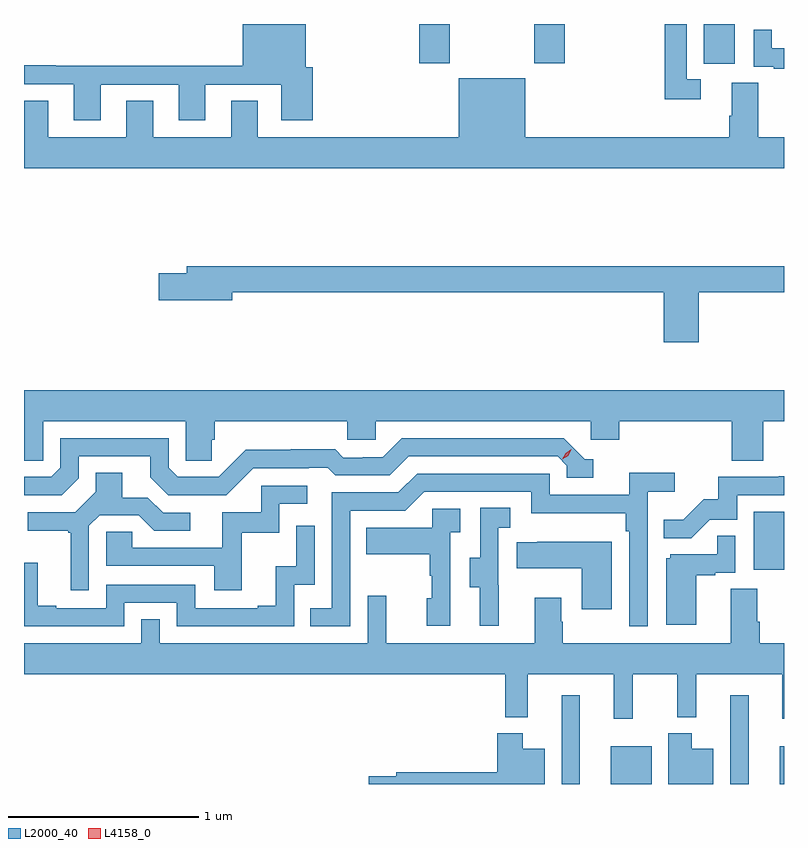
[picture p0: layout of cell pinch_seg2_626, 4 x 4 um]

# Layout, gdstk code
import gdstk
lib = gdstk.Library(unit=1e-6, precision=1e-09)
def R(c, l, rs):  # rectangles x0, y0, x1, y1
    for r in rs: c.add(gdstk.rectangle(r[:2], r[2:], *l))
def P(c, l, *ps):  # polygons
    for p in ps: c.add(gdstk.Polygon(p, *l))
L2000_40 = (2000, 40)
L4158_0 = (4158, 0)

pinch_seg2_626 = lib.new_cell('pinch_seg2_626')
R(pinch_seg2_626, L2000_40, [(1024.155,600.439,1024.252,600.907), (1024.415,600.439,1024.63,600.637), (1025.043,600.439,1025.14,600.907), (1025.303,600.439,1025.326,600.637), (1025.168,601.566,1025.326,601.873), (1024.904,604.23,1025.068,604.439), (1023.407,604.233,1023.567,604.439), (1024.012,604.233,1024.172,604.439)])
P(pinch_seg2_626, L2000_40, [(1021.729,604.119),(1022.141,604.119),(1022.141,603.933),(1022.281,603.933),(1022.281,604.119),(1022.681,604.119),(1022.681,603.933),(1022.846,603.933),(1022.846,604.212),(1022.809,604.212),(1022.809,604.439),(1022.477,604.439),(1022.477,604.22),(1021.493,604.22),(1021.493,604.223),(1021.326,604.223),(1021.326,604.122),(1021.589,604.122),(1021.589,603.933),(1021.729,603.933)],
  [(1024.888,604.149),(1024.815,604.149),(1024.815,604.439),(1024.699,604.439),(1024.699,604.044),(1024.888,604.044)],
  [(1025.326,604.311),(1025.261,604.311),(1025.261,604.409),(1025.166,604.409),(1025.166,604.215),(1025.273,604.215),(1025.273,604.203),(1025.326,604.203)],
  [(1025.326,603.844),(1025.191,603.844),(1025.191,604.13),(1025.051,604.13),(1025.051,603.956),(1025.039,603.956),(1025.039,603.844),(1023.964,603.844),(1023.964,604.153),(1023.614,604.153),(1023.614,603.844),(1022.557,603.844),(1022.557,604.034),(1022.417,604.034),(1022.417,603.844),(1022.005,603.844),(1022.005,604.034),(1021.865,604.034),(1021.865,603.844),(1021.453,603.844),(1021.453,604.034),(1021.326,604.034),(1021.326,603.68),(1025.326,603.68)],
  [(1024.877,603.028),(1025.326,603.028),(1025.326,603.164),(1022.183,603.164),(1022.183,603.128),(1022.034,603.128),(1022.034,602.986),(1022.422,602.986),(1022.422,603.028),(1024.694,603.028),(1024.694,602.763),(1024.877,602.763)],
  [(1021.428,602.348),(1022.178,602.348),(1022.178,602.14),(1022.315,602.14),(1022.315,602.25),(1022.33,602.25),(1022.33,602.348),(1023.027,602.348),(1023.027,602.25),(1023.177,602.25),(1023.177,602.348),(1024.308,602.348),(1024.308,602.25),(1024.46,602.25),(1024.46,602.348),(1025.051,602.348),(1025.051,602.14),(1025.216,602.14),(1025.216,602.348),(1025.326,602.348),(1025.326,602.512),(1021.326,602.512),(1021.326,602.14),(1021.428,602.14)],
  [(1021.614,602.049),(1021.614,602.163),(1021.991,602.163),(1021.991,602.053),(1022.085,601.959),(1022.391,601.959),(1022.532,602.1),(1022.825,602.1),(1022.825,602.103),(1022.924,602.103),(1022.963,602.064),(1023.252,602.064),(1023.351,602.163),(1024.134,602.163),(1024.182,602.115),(1024.182,602.052),(1024.321,602.052),(1024.321,602.148),(1024.278,602.148),(1024.167,602.259),(1023.314,602.259),(1023.215,602.16),(1023.108,602.16),(1023.108,602.157),(1023.005,602.157),(1022.963,602.2),(1022.73,602.2),(1022.73,602.197),(1022.494,602.197),(1022.352,602.055),(1022.136,602.055),(1022.088,602.103),(1022.088,602.259),(1021.518,602.259),(1021.518,602.103),(1021.47,602.055),(1021.326,602.055),(1021.326,601.959),(1021.524,601.959)],
  [(1023.042,601.878),(1023.333,601.878),(1023.432,601.977),(1023.996,601.977),(1023.996,601.865),(1024.492,601.865),(1024.492,601.769),(1024.512,601.769),(1024.512,601.269),(1024.608,601.269),(1024.608,601.976),(1024.75,601.976),(1024.75,602.078),(1024.511,602.078),(1024.511,601.962),(1024.092,601.962),(1024.092,602.073),(1023.395,602.073),(1023.296,601.974),(1022.946,601.974),(1022.946,601.365),(1022.833,601.365),(1022.833,601.269),(1023.042,601.269)],
  [(1021.668,601.797),(1021.725,601.854),(1021.931,601.854),(1022.012,601.773),(1022.2,601.773),(1022.2,601.866),(1022.058,601.866),(1021.978,601.946),(1021.843,601.946),(1021.843,602.078),(1021.703,602.078),(1021.703,601.976),(1021.596,601.869),(1021.347,601.869),(1021.347,601.772),(1021.56,601.772),(1021.56,601.761),(1021.571,601.761),(1021.571,601.458),(1021.668,601.458)],
  [(1024.935,601.83),(1025.079,601.83),(1025.079,601.959),(1025.326,601.959),(1025.326,602.06),(1025.299,602.06),(1025.299,602.055),(1024.981,602.055),(1024.981,601.938),(1024.904,601.938),(1024.797,601.831),(1024.693,601.831),(1024.693,601.732),(1024.837,601.732)],
  [(1022.471,601.761),(1022.67,601.761),(1022.67,601.914),(1022.818,601.914),(1022.818,602.01),(1022.574,602.01),(1022.574,601.869),(1022.369,601.869),(1022.369,601.683),(1021.895,601.683),(1021.895,601.767),(1021.758,601.767),(1021.758,601.587),(1022.327,601.587),(1022.327,601.458),(1022.471,601.458)],
  [(1023.824,601.485),(1023.822,601.485),(1023.822,601.789),(1023.886,601.789),(1023.886,601.892),(1023.726,601.892),(1023.726,601.629),(1023.671,601.629),(1023.671,601.474),(1023.725,601.474),(1023.725,601.272),(1023.824,601.272)],
  [(1023.57,601.763),(1023.622,601.763),(1023.622,601.887),(1023.474,601.887),(1023.474,601.789),(1023.127,601.789),(1023.127,601.649),(1023.462,601.649),(1023.462,601.535),(1023.472,601.535),(1023.472,601.416),(1023.446,601.416),(1023.446,601.272),(1023.57,601.272)],
  [(1021.854,601.392),(1022.13,601.392),(1022.13,601.269),(1022.748,601.269),(1022.748,601.488),(1022.856,601.488),(1022.856,601.798),(1022.76,601.798),(1022.76,601.586),(1022.651,601.586),(1022.651,601.378),(1022.555,601.378),(1022.555,601.365),(1022.226,601.365),(1022.226,601.488),(1021.758,601.488),(1021.758,601.365),(1021.495,601.365),(1021.495,601.378),(1021.399,601.378),(1021.399,601.603),(1021.326,601.603),(1021.326,601.269),(1021.854,601.269)],
  [(1024.864,601.539),(1024.964,601.539),(1024.964,601.551),(1025.07,601.551),(1025.07,601.745),(1024.975,601.745),(1024.975,601.647),(1024.728,601.647),(1024.728,601.626),(1024.706,601.626),(1024.706,601.278),(1024.864,601.278)],
  [(1024.42,601.714),(1024.027,601.714),(1024.027,601.711),(1023.919,601.711),(1023.919,601.574),(1024.262,601.574),(1024.262,601.359),(1024.42,601.359)],
  [(1024.53,601.016),(1024.765,601.016),(1024.765,600.791),(1024.865,600.791),(1024.865,601.016),(1025.318,601.016),(1025.318,600.783),(1025.326,600.783),(1025.326,601.18),(1025.198,601.18),(1025.198,601.292),(1025.185,601.292),(1025.185,601.466),(1025.045,601.466),(1025.045,601.18),(1024.161,601.18),(1024.161,601.292),(1024.153,601.292),(1024.153,601.42),(1024.013,601.42),(1024.013,601.18),(1023.233,601.18),(1023.233,601.429),(1023.135,601.429),(1023.135,601.18),(1022.04,601.18),(1022.04,601.307),(1021.944,601.307),(1021.944,601.18),(1021.326,601.18),(1021.326,601.016),(1023.859,601.016),(1023.859,600.791),(1023.977,600.791),(1023.977,601.016),(1024.43,601.016),(1024.43,600.783),(1024.53,600.783)],
  [(1024.954,600.625),(1024.84,600.625),(1024.84,600.706),(1024.718,600.706),(1024.718,600.439),(1024.954,600.439)],
  [(1024.066,600.625),(1023.952,600.625),(1023.952,600.706),(1023.818,600.706),(1023.818,600.5),(1023.286,600.5),(1023.286,600.48),(1023.14,600.48),(1023.14,600.439),(1024.066,600.439)])
P(pinch_seg2_626, L4158_0, [(1024.16,602.147),(1024.16,602.148),(1024.176,602.18),(1024.206,602.2),(1024.207,602.2),(1024.207,602.2),(1024.191,602.167),(1024.16,602.147)])

lib.write_gds('pinch_seg2_626.gds')
